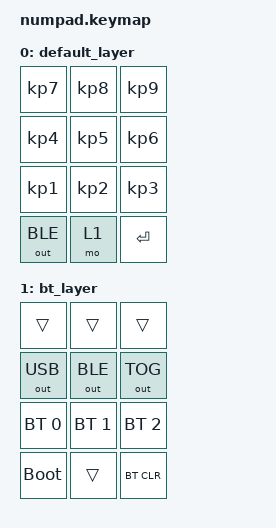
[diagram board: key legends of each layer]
#include <behaviors.dtsi>
#include <dt-bindings/zmk/keys.h>
#include <dt-bindings/zmk/bt.h>
#include <dt-bindings/zmk/outputs.h>

/ {
    keymap {
        compatible = "zmk,keymap";

        default_layer {
            bindings = <
                &kp KP_N7   &kp KP_N8   &kp KP_N9
                &kp KP_N4   &kp KP_N5   &kp KP_N6
                &kp KP_N1   &kp KP_N2   &kp KP_N3
                &out OUT_BLE   &mo 1   &kp ENTER
            >;
        };

        bt_layer {
            bindings = <
                &trans    &trans    &trans 
                &out OUT_USB    &out OUT_BLE    &out OUT_TOG 
                &bt BT_SEL 0    &bt BT_SEL 1    &bt BT_SEL 2
                &bootloader   &trans    &bt BT_CLR
            >;
        };
    };
};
